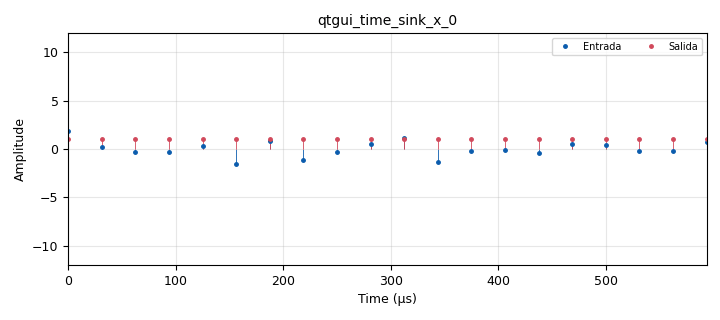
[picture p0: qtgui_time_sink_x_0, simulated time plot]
options:
  parameters:
    author: Gabriela
    copyright: UIS
    description: ejemplo de un acumulador
    generate_options: qt_gui
    id: miprimer
    output_language: python
    title: miprimer
  states: {}

blocks:
- name: samp_rate
  id: variable
  parameters:
    value: '32000'
  states: {}
- name: analog_noise_source_x_0
  id: analog_noise_source_x
  parameters:
    amp: '1'
    noise_type: analog.GR_GAUSSIAN
    seed: '0'
    type: float
  states: {}
- name: blocks_multiply_xx_0
  id: blocks_multiply_xx
  parameters:
    type: float
  states: {}
- name: blocks_vector_source_x_0
  id: blocks_vector_source_x
  parameters:
    repeat: 'True'
    type: float
    vector: (1,4,-2,-3)
  states: {state: disabled}
- name: epy_block_0
  id: epy_block
  parameters:
    _source_code: "import numpy as np\nfrom gnuradio import gr\n\n\nclass blk(gr.sync_block):  \n\n\n\tdef __init__(self,):  \n\t\t\"\"\"Bloque promediador\"\"\"\n\t\tgr.sync_block.__init__( \n\t\tself,\n\t\tname='Time average',\n\t\tin_sig=[np.float32],\n\t\tout_sig=[np.float32]\n\t\t)\n\t\tself.acum_anterior=0\n\t\tself.Ntotales=0\n\n\tdef work(self, input_items, output_items):\n\t\tx=input_items[0]\n\t\ty=output_items[0]\n\t\tN=len(x)\n\t\tself.Ntotales=self.Ntotales+N\n\t\tacumulado=self.acum_anterior+np.cumsum(x)#se usa esto debido a que se quiere saber el acumulado de toda \t\t\t#la señal no solo el de un vector\n\t\tself.acum_anterior=acumulado[N-1]\n\t\ty[:]=acumulado/self.Ntotales\n\t\t\n\t\treturn len(x)\n\n      \n"
  states: {}
- name: epy_block_0_0
  id: epy_block
  parameters:
    _source_code: "import numpy as np\nfrom gnuradio import gr\n\n\nclass blk(gr.sync_block):  \n\n\n\tdef __init__(self,):  \n\t\t\"\"\"Bloque sqrt\"\"\"\n\t\tgr.sync_block.__init__( \n\t\tself,\n\t\tname='Sqrt',\n\t\tin_sig=[np.float32],\n\t\tout_sig=[np.float32]\n\t\t)\n\t\n\n\tdef work(self, input_items, output_items):\n\t\tx=input_items[0]\n\t\ty=output_items[0]\n\t\t\n\t\ty[:]=np.sqrt(x)\n\t\t\n\t\treturn len(x)\n\n      \n"
  states: {}
- name: qtgui_number_sink_0
  id: qtgui_number_sink
  parameters:
    graph_type: qtgui.NUM_GRAPH_HORIZ
    name: '"La media"'
    type: float
  states: {}
- name: qtgui_time_sink_x_0
  id: qtgui_time_sink_x
  parameters:
    label1: Entrada
    label2: Salida
    marker1: '0'
    marker2: '2'
    nconnections: '2'
    size: '20'
    srate: samp_rate
    stemplot: 'True'
    type: float
    width1: '4'
    width2: '4'
    ymax: '12'
    ymin: '-12'
  states: {}

connections:
- [analog_noise_source_x_0, '0', blocks_multiply_xx_0, '0']
- [analog_noise_source_x_0, '0', blocks_multiply_xx_0, '1']
- [analog_noise_source_x_0, '0', qtgui_time_sink_x_0, '0']
- [blocks_multiply_xx_0, '0', epy_block_0, '0']
- [blocks_vector_source_x_0, '0', epy_block_0, '0']
- [blocks_vector_source_x_0, '0', qtgui_time_sink_x_0, '0']
- [epy_block_0, '0', epy_block_0_0, '0']
- [epy_block_0_0, '0', qtgui_number_sink_0, '0']
- [epy_block_0_0, '0', qtgui_time_sink_x_0, '1']

metadata:
  file_format: 1
